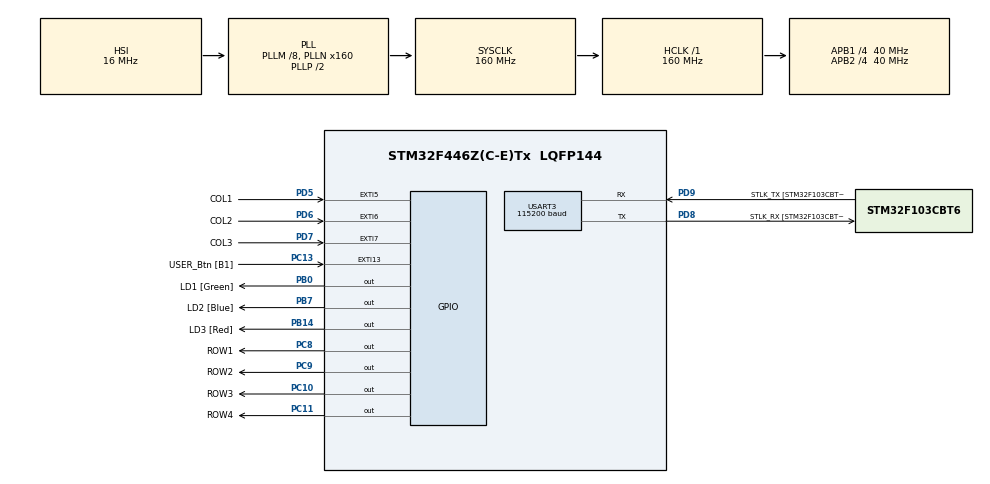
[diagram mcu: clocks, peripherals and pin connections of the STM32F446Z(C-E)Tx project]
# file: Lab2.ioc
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Mcu.Family=STM32F4
Mcu.Name=STM32F446Z(C-E)Tx
Mcu.Package=LQFP144
NVIC.EXTI15_10_IRQn=true\:0\:0\:false\:false\:true\:true\:true\:true
NVIC.EXTI9_5_IRQn=true\:0\:0\:false\:false\:true\:true\:true\:true
NVIC.PriorityGroup=NVIC_PRIORITYGROUP_4
PB0.GPIO_Label=LD1 [Green]
PB0.Signal=GPIO_Output
PB14.GPIO_Label=LD3 [Red]
PB14.Signal=GPIO_Output
PB7.GPIO_Label=LD2 [Blue]
PB7.Signal=GPIO_Output
PC10.GPIO_Label=ROW3
PC10.Signal=GPIO_Output
PC11.GPIO_Label=ROW4
PC11.Signal=GPIO_Output
PC13.GPIO_Label=USER_Btn [B1]
PC13.GPIO_ModeDefaultEXTI=GPIO_MODE_IT_RISING
PC13.Signal=GPXTI13
PC8.GPIO_Label=ROW1
PC8.Signal=GPIO_Output
PC9.GPIO_Label=ROW2
PC9.Signal=GPIO_Output
PD5.GPIO_Label=COL1
PD5.GPIO_PuPd=GPIO_PULLDOWN
PD5.Signal=GPXTI5
PD6.GPIO_Label=COL2
PD6.GPIO_PuPd=GPIO_PULLDOWN
PD6.Signal=GPXTI6
PD7.GPIO_Label=COL3
PD7.GPIO_PuPd=GPIO_PULLDOWN
PD7.Signal=GPXTI7
PD8.GPIO_Label=STLK_RX [STM32F103CBT6_PA3]
PD8.Mode=Asynchronous
PD8.Signal=USART3_TX
PD9.GPIO_Label=STLK_TX [STM32F103CBT6_PA2]
PD9.Mode=Asynchronous
PD9.Signal=USART3_RX
ProjectManager.HeapSize=0x200
ProjectManager.StackSize=0x400
ProjectManager.TargetToolchain=STM32CubeIDE
RCC.48MHZClocksFreq_Value=24000000
RCC.AHBFreq_Value=160000000
RCC.APB1CLKDivider=RCC_HCLK_DIV4
RCC.APB1Freq_Value=40000000
RCC.APB1TimFreq_Value=80000000
RCC.APB2CLKDivider=RCC_HCLK_DIV4
RCC.APB2Freq_Value=40000000
RCC.APB2TimFreq_Value=80000000
RCC.CortexFreq_Value=160000000
RCC.HCLKFreq_Value=160000000
RCC.HSE_VALUE=8000000
RCC.HSI_VALUE=16000000
RCC.PLLM=8
RCC.PLLMUL=RCC_PLL_MUL9
RCC.PLLN=160
RCC.PLLQ=7
RCC.PRESCALERUSB=RCC_USBCLKSOURCE_PLL_DIV1_5
RCC.SYSCLKFreq_VALUE=160000000
RCC.SYSCLKSource=RCC_SYSCLKSOURCE_PLLCLK
RCC.SYSCLKSourceVirtual=RCC_SYSCLKSOURCE_PLLCLK
RCC.USBFreq_Value=45714285.71428572
RCC.VCOOutputFreq_Value=320000000
USART3.BaudRate=115200
USART3.VirtualMode=VM_ASYNC
board=NUCLEO-F446ZE

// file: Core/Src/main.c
/* USER CODE BEGIN Header */
/**
  ******************************************************************************
  * @file           : main.c
  * @brief          : Main program body
  ******************************************************************************
  * @attention
  *
  * Copyright (c) 2026 STMicroelectronics.
  * All rights reserved.
  *
  * This software is licensed under terms that can be found in the LICENSE file
  * in the root directory of this software component.
  * If no LICENSE file comes with this software, it is provided AS-IS.
  *
  ******************************************************************************
  */
/* USER CODE END Header */
#include "main.h"

/* USER CODE BEGIN Includes */
#include <stdio.h>
#include <string.h>
/* USER CODE END Includes */

/* USER CODE BEGIN PD */

#define ROW_Port GPIOC

/* Row Pins Already Defined in main.h
#define ROW1_Pin GPIO_PIN_8
#define ROW2_Pin GPIO_PIN_9
#define ROW3_Pin GPIO_PIN_10
#define ROW4_Pin GPIO_PIN_11
*/

#define COL_Port GPIOD

/* Column Pins Already Defined in main.h
#define COL1_Pin GPIO_PIN_5
#define COL2_Pin GPIO_PIN_6
#define COL3_Pin GPIO_PIN_7
*/

/* USER CODE END PD */

UART_HandleTypeDef huart3;

void SystemClock_Config(void);
static void MX_GPIO_Init(void);
static void MX_USART3_UART_Init(void);

/* USER CODE BEGIN 0 */
void print_msg(char * msg) {
HAL_UART_Transmit(&huart3, (uint8_t *)msg, strlen(msg), 100);
}

volatile int8_t current_row = -1, current_col = -1;
char keypad[4][3] = {
    {'1','2','3'},
    {'4','5','6'},
    {'7','8','9'},
    {'*','0','#'}
};
uint16_t row_pins[4] = {ROW1_Pin, ROW2_Pin, ROW3_Pin, ROW4_Pin};
/* USER CODE END 0 */

int main(void)
{

  /* MCU Configuration--------------------------------------------------------*/

  /* Reset of all peripherals, Initializes the Flash interface and the Systick. */
  HAL_Init();

  /* Configure the system clock */
  SystemClock_Config();

  /* Initialize all configured peripherals */
  MX_GPIO_Init();
  MX_USART3_UART_Init();
  /* USER CODE BEGIN 2 */
  // Initialize all rows to LOW at startup
  HAL_GPIO_WritePin(ROW_Port, ROW1_Pin, GPIO_PIN_RESET);
  HAL_GPIO_WritePin(ROW_Port, ROW2_Pin, GPIO_PIN_RESET);
  HAL_GPIO_WritePin(ROW_Port, ROW3_Pin, GPIO_PIN_RESET);
  HAL_GPIO_WritePin(ROW_Port, ROW4_Pin, GPIO_PIN_RESET);

  print_msg("Keypad initialized\r\n");
  /* USER CODE END 2 */

  /* Infinite loop */
  /* USER CODE BEGIN WHILE */
  while (1)
  {
    // Scan through each row (0-3 for rows 1-4)
    for (int row = 0; row < 4; row++) {

      // Set ALL rows LOW first
      HAL_GPIO_WritePin(ROW_Port, ROW1_Pin, GPIO_PIN_RESET);
      HAL_GPIO_WritePin(ROW_Port, ROW2_Pin, GPIO_PIN_RESET);
      HAL_GPIO_WritePin(ROW_Port, ROW3_Pin, GPIO_PIN_RESET);
      HAL_GPIO_WritePin(ROW_Port, ROW4_Pin, GPIO_PIN_RESET);

      // Set ONLY the current row HIGH
      HAL_GPIO_WritePin(ROW_Port, row_pins[row], GPIO_PIN_SET);
      current_row = row;

      // Small delay for signal to settle
//      for(volatile int i = 0; i < 200; i++);

      HAL_Delay(250);

      // Check if a column interrupt was triggered
      if (current_col >= 0 && current_col < 3) {

        char key = keypad[current_row][current_col];
        char msg[50];
        sprintf(msg, "Key Pressed: %c\r\n", key);
        print_msg(msg);

        // Reset column and wait for key release (debounce)
        current_col = -1;
//        HAL_Delay(250);

      }
    }

    /* USER CODE END WHILE */

  }
}

void SystemClock_Config(void)
{
  RCC_OscInitTypeDef RCC_OscInitStruct = {0};
  RCC_ClkInitTypeDef RCC_ClkInitStruct = {0};

  /** Configure the main internal regulator output voltage
  */
  __HAL_RCC_PWR_CLK_ENABLE();
  __HAL_PWR_VOLTAGESCALING_CONFIG(PWR_REGULATOR_VOLTAGE_SCALE1);

  /** Initializes the RCC Oscillators according to the specified parameters
  * in the RCC_OscInitTypeDef structure.
  */
  RCC_OscInitStruct.OscillatorType = RCC_OSCILLATORTYPE_HSI;
  RCC_OscInitStruct.HSIState = RCC_HSI_ON;
  RCC_OscInitStruct.HSICalibrationValue = RCC_HSICALIBRATION_DEFAULT;
  RCC_OscInitStruct.PLL.PLLState = RCC_PLL_ON;
  RCC_OscInitStruct.PLL.PLLSource = RCC_PLLSOURCE_HSI;
  RCC_OscInitStruct.PLL.PLLM = 8;
  RCC_OscInitStruct.PLL.PLLN = 160;
  RCC_OscInitStruct.PLL.PLLP = RCC_PLLP_DIV2;
  RCC_OscInitStruct.PLL.PLLQ = 7;
  RCC_OscInitStruct.PLL.PLLR = 2;
  if (HAL_RCC_OscConfig(&RCC_OscInitStruct) != HAL_OK)
  {
    Error_Handler();
  }

  /** Initializes the CPU, AHB and APB buses clocks
  */
  RCC_ClkInitStruct.ClockType = RCC_CLOCKTYPE_HCLK|RCC_CLOCKTYPE_SYSCLK
                              |RCC_CLOCKTYPE_PCLK1|RCC_CLOCKTYPE_PCLK2;
  RCC_ClkInitStruct.SYSCLKSource = RCC_SYSCLKSOURCE_PLLCLK;
  RCC_ClkInitStruct.AHBCLKDivider = RCC_SYSCLK_DIV1;
  RCC_ClkInitStruct.APB1CLKDivider = RCC_HCLK_DIV4;
  RCC_ClkInitStruct.APB2CLKDivider = RCC_HCLK_DIV4;

  if (HAL_RCC_ClockConfig(&RCC_ClkInitStruct, FLASH_LATENCY_5) != HAL_OK)
  {
    Error_Handler();
  }
}

static void MX_USART3_UART_Init(void)
{

  huart3.Instance = USART3;
  huart3.Init.BaudRate = 115200;
  huart3.Init.WordLength = UART_WORDLENGTH_8B;
  huart3.Init.StopBits = UART_STOPBITS_1;
  huart3.Init.Parity = UART_PARITY_NONE;
  huart3.Init.Mode = UART_MODE_TX_RX;
  huart3.Init.HwFlowCtl = UART_HWCONTROL_NONE;
  huart3.Init.OverSampling = UART_OVERSAMPLING_16;
  if (HAL_UART_Init(&huart3) != HAL_OK)
  {
    Error_Handler();
  }

}

static void MX_GPIO_Init(void)
{
  GPIO_InitTypeDef GPIO_InitStruct = {0};

  /* GPIO Ports Clock Enable */
  __HAL_RCC_GPIOC_CLK_ENABLE();
  __HAL_RCC_GPIOB_CLK_ENABLE();
  __HAL_RCC_GPIOD_CLK_ENABLE();

  /*Configure GPIO pin Output Level */
  HAL_GPIO_WritePin(GPIOB, LD1_Pin|LD3_Pin|LD2_Pin, GPIO_PIN_RESET);

  /*Configure GPIO pin Output Level */
  HAL_GPIO_WritePin(GPIOC, ROW1_Pin|ROW2_Pin|ROW3_Pin|ROW4_Pin, GPIO_PIN_RESET);

  /*Configure GPIO pin : USER_Btn_Pin */
  GPIO_InitStruct.Pin = USER_Btn_Pin;
  GPIO_InitStruct.Mode = GPIO_MODE_IT_RISING;
  GPIO_InitStruct.Pull = GPIO_NOPULL;
  HAL_GPIO_Init(USER_Btn_GPIO_Port, &GPIO_InitStruct);

  /*Configure GPIO pins : LD1_Pin LD3_Pin LD2_Pin */
  GPIO_InitStruct.Pin = LD1_Pin|LD3_Pin|LD2_Pin;
  GPIO_InitStruct.Mode = GPIO_MODE_OUTPUT_PP;
  GPIO_InitStruct.Pull = GPIO_NOPULL;
  GPIO_InitStruct.Speed = GPIO_SPEED_FREQ_LOW;
  HAL_GPIO_Init(GPIOB, &GPIO_InitStruct);

  /*Configure GPIO pins : ROW1_Pin ROW2_Pin ROW3_Pin ROW4_Pin */
  GPIO_InitStruct.Pin = ROW1_Pin|ROW2_Pin|ROW3_Pin|ROW4_Pin;
  GPIO_InitStruct.Mode = GPIO_MODE_OUTPUT_PP;
  GPIO_InitStruct.Pull = GPIO_NOPULL;
  GPIO_InitStruct.Speed = GPIO_SPEED_FREQ_LOW;
  HAL_GPIO_Init(GPIOC, &GPIO_InitStruct);

  /*Configure GPIO pins : COL1_Pin COL2_Pin COL3_Pin */
  GPIO_InitStruct.Pin = COL1_Pin|COL2_Pin|COL3_Pin;
  GPIO_InitStruct.Mode = GPIO_MODE_IT_RISING;
  GPIO_InitStruct.Pull = GPIO_PULLDOWN;
  HAL_GPIO_Init(GPIOD, &GPIO_InitStruct);

  /* EXTI interrupt init*/
  HAL_NVIC_SetPriority(EXTI9_5_IRQn, 0, 0);
  HAL_NVIC_EnableIRQ(EXTI9_5_IRQn);

  HAL_NVIC_SetPriority(EXTI15_10_IRQn, 0, 0);
  HAL_NVIC_EnableIRQ(EXTI15_10_IRQn);

}

void Error_Handler(void)
{
  __disable_irq();
  while (1)
  {
  }
}
